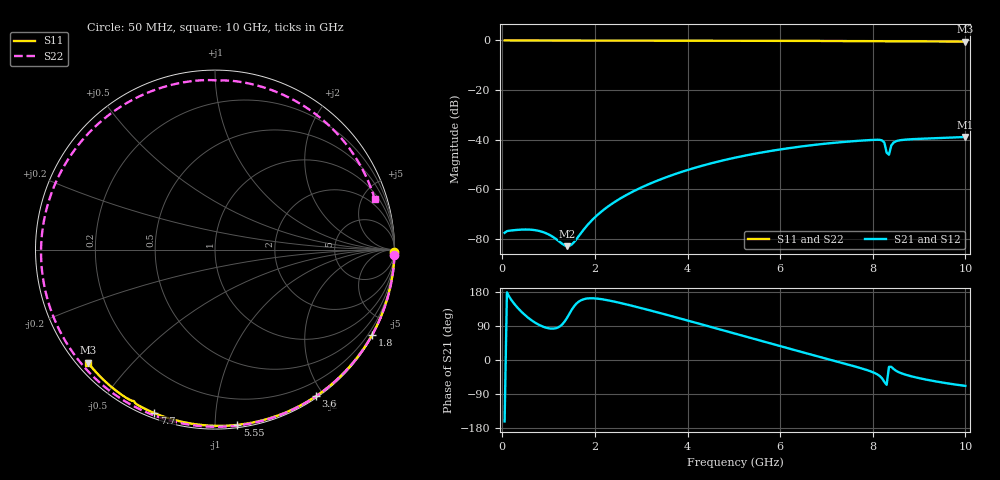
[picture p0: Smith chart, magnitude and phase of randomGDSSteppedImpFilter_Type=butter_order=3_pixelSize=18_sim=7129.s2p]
! freq	dB(S11)	phase(S11)	dB(S12)	phase(S12)
!  dB(S21)	phase(S21)	dB(S22)	phase(S22)
!S-par simulation data
#  GHz  S  DB  R 50
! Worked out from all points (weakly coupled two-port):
!   200 points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, 50 MHz to 10 GHz, reference 50 ohm
!   highest |S21| = -38.89 dB at 10 GHz (marker M1); lowest = -82.9 dB at 1.4 GHz (marker M2)
!   lowest |S11| = -0.5 dB at 10 GHz (marker M3), VSWR 37.08, Z = 1.54 - j19 ohm
!   |S11| at or under -10 dB: nowhere
!   |S22| runs from -0.6 to 0.0 dB; largest |S21 - S12| = 0
!   S11 on the Smith chart (normalised r, x): 50 MHz: open; 1.8 GHz: 0.03, -3.95; 3.6 GHz: 0.02, -1.90; 5.55 GHz: 0.02, -1.14; 7.7 GHz: 0.02, -0.69; 10 GHz: 0.03, -0.38
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0.05  -0.00 -0.8  -77.56 -162.0  -77.56 -162.0  -0.00 -1.8
0.65  -0.01 -10.4  -76.33 103.3  -76.33 103.3  -0.02 -23.0
1.15  -0.02 -18.3  -79.90 83.6  -79.90 83.6  -0.05 -40.4
1.4  -0.03 -22.2  -82.93 111.7  -82.93 111.7  -0.06 -48.9
1.6  -0.03 -25.3  -80.12 148.8  -80.12 148.8  -0.07 -55.6
1.75  -0.04 -27.6  -76.41 160.1  -76.41 160.1  -0.08 -60.6
1.8  -0.04 -28.4  -75.26 161.6  -75.26 161.6  -0.08 -62.2
2.45  -0.05 -38.3  -64.83 153.3  -64.83 153.3  -0.10 -83.2
3.4  -0.07 -52.5  -56.12 124.1  -56.12 124.1  -0.14 -112.5
3.6  -0.07 -55.4  -54.72 117.6  -54.72 117.6  -0.15 -118.5
5.05  -0.12 -75.9  -47.16 68.5  -47.16 68.5  -0.23 -161.3
5.55  -0.14 -82.7  -45.33 51.6  -45.33 51.6  -0.26 -176.3
6.7  -0.19 -97.8  -42.18 13.3  -42.18 13.3  -0.35 147.3
7.7  -0.25 -110.4  -40.44 -20.0  -40.44 -20.0  -0.44 112.0
8.2  -0.30 -116.8  -40.28 -48.2  -40.28 -48.2  -0.49 92.7
8.25  -0.32 -117.5  -41.16 -57.8  -41.16 -57.8  -0.50 90.8
8.3  -0.37 -118.0  -45.25 -65.4  -45.25 -65.4  -0.52 88.9
8.35  -0.38 -118.3  -46.05 -17.9  -46.05 -17.9  -0.50 87.0
8.4  -0.35 -118.8  -42.32 -17.9  -42.32 -17.9  -0.49 85.0
8.55  -0.33 -120.7  -40.36 -31.5  -40.36 -31.5  -0.49 78.8
9.2  -0.38 -128.7  -39.52 -52.9  -39.52 -52.9  -0.54 51.6
10  -0.47 -138.4  -38.89 -68.3  -38.89 -68.3  -0.60 17.4
